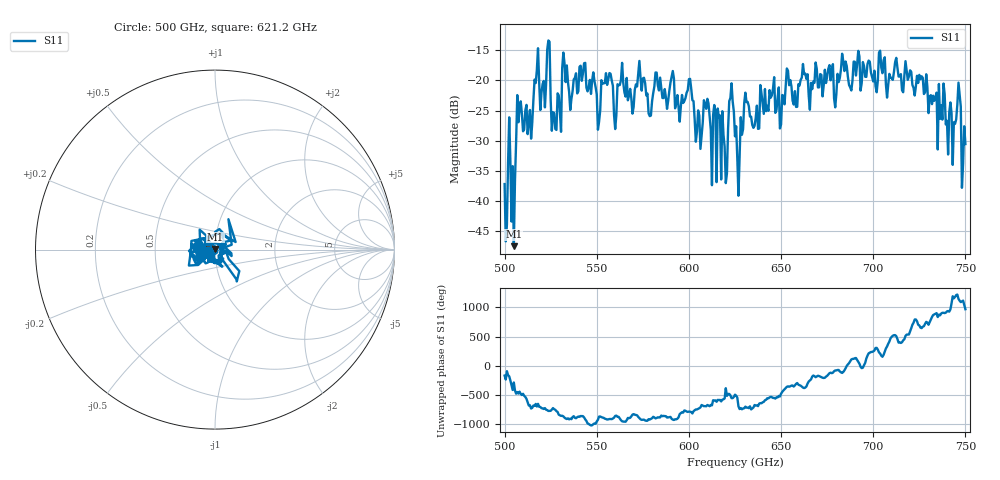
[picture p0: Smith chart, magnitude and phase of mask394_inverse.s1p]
!Created with skrf (http://scikit-rf.org).
# GHz S MA R 50.0
!freq magS11 angS11
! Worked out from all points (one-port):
!   401 points, 500 GHz to 750 GHz, reference 50 ohm
!   lowest |S11| = -47.5 dB at 505 GHz (marker M1), VSWR 1.01, Z = 50.1 + j0.403 ohm
!   |S11| at or under -10 dB: start of sweep to end of sweep
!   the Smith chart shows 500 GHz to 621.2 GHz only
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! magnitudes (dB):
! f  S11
! 500 GHz  -37.2
! 503.1 GHz  -33.4
! 505 GHz  -47.5
! 508.1 GHz  -24.8
! 513.8 GHz  -24.9
! 516.9 GHz  -20.4
! 520.6 GHz  -20.6
! 523.8 GHz  -13.4
! 526.9 GHz  -25.4
! 531.2 GHz  -17.9
! 542.5 GHz  -18.8
! 550.6 GHz  -28.2
! 562.5 GHz  -20.8
! 593.8 GHz  -22.4
! 600 GHz  -19.8
! 605 GHz  -25.0
! 609.4 GHz  -24.7
! 620 GHz  -37.0
! 623.1 GHz  -20.5
! 625 GHz  -29.3
! 626.2 GHz  -32.9
! 631.2 GHz  -23.6
! 656.2 GHz  -23.4
! 687.5 GHz  -21.1
! 718.8 GHz  -19.9
! 741.9 GHz  -23.6
! 746.2 GHz  -20.4
! 750 GHz  -30.6
